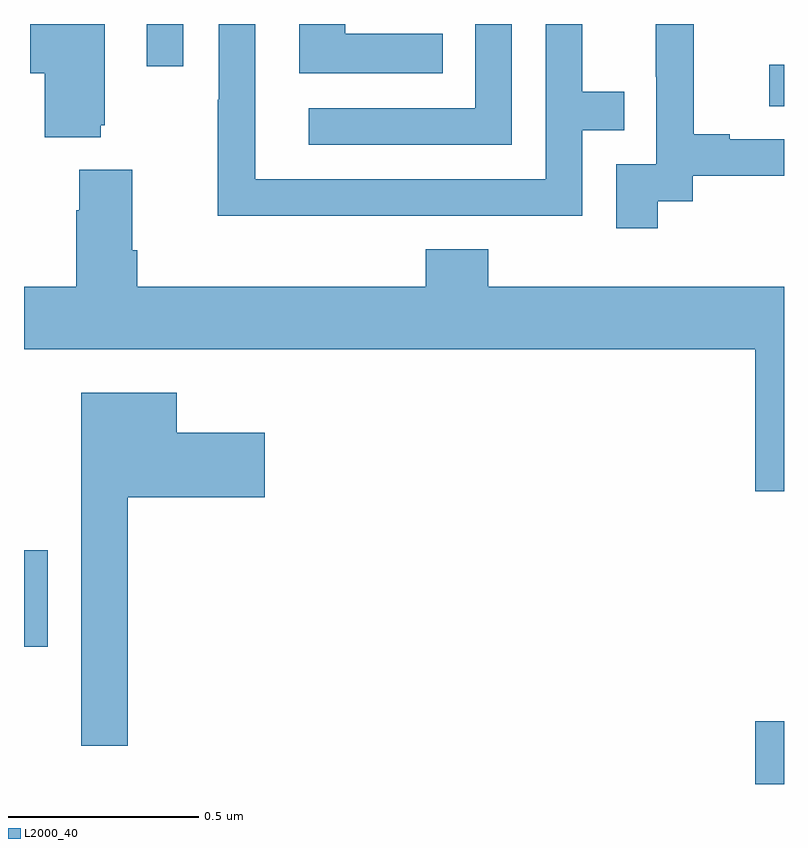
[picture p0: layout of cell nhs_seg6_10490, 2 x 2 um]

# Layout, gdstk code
import gdstk
lib = gdstk.Library(unit=1e-6, precision=1e-09)
def R(c, l, rs):  # rectangles x0, y0, x1, y1
    for r in rs: c.add(gdstk.rectangle(r[:2], r[2:], *l))
def P(c, l, *ps):  # polygons
    for p in ps: c.add(gdstk.Polygon(p, *l))
L2000_40 = (2000, 40)

nhs_seg6_10490 = lib.new_cell('nhs_seg6_10490')
R(nhs_seg6_10490, L2000_40, [(248.924,971.5,249,971.665), (247,971.861,247.063,972.115), (248.961,973.284,249,973.393), (247.323,973.389,247.419,973.5)])
P(nhs_seg6_10490, L2000_40, [(248.283,973.5),(248.187,973.5),(248.187,973.278),(247.749,973.278),(247.749,973.182),(248.283,973.182)],
  [(247.202,973.233),(247.213,973.233),(247.213,973.5),(247.016,973.5),(247.016,973.37),(247.055,973.37),(247.055,973.202),(247.202,973.202)],
  [(248.102,973.474),(247.845,973.474),(247.845,973.5),(247.724,973.5),(247.724,973.37),(248.102,973.37)],
  [(247.973,972.996),(248.469,972.996),(248.469,973.221),(248.579,973.221),(248.579,973.322),(248.469,973.322),(248.469,973.5),(248.373,973.5),(248.373,973.092),(247.608,973.092),(247.608,973.5),(247.512,973.5),(247.512,973.301),(247.51,973.301),(247.51,972.995),(247.973,972.995)],
  [(248.668,973.033),(248.76,973.033),(248.76,973.101),(249,973.101),(249,973.197),(248.857,973.197),(248.857,973.21),(248.762,973.21),(248.762,973.493),(248.763,973.493),(248.763,973.5),(248.663,973.5),(248.663,973.361),(248.664,973.361),(248.664,973.131),(248.559,973.131),(248.559,972.963),(248.668,972.963)],
  [(249,972.808),(248.222,972.808),(248.222,972.907),(248.057,972.907),(248.057,972.808),(247.298,972.808),(247.298,972.904),(247.285,972.904),(247.285,973.117),(247.145,973.117),(247.145,973.01),(247.138,973.01),(247.138,972.808),(247,972.808),(247,972.644),(248.924,972.644),(248.924,972.27),(249,972.27)],
  [(247.273,972.254),(247.633,972.254),(247.633,972.424),(247.402,972.424),(247.402,972.529),(247.151,972.529),(247.151,971.601),(247.273,971.601)])

lib.write_gds('nhs_seg6_10490.gds')
